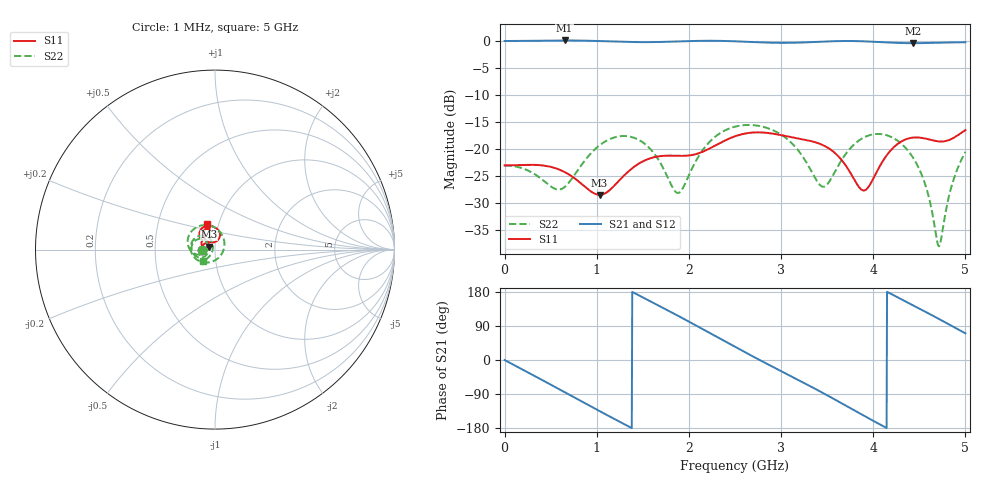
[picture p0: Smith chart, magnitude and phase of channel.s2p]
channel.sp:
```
* EQUIVALENT CIRCUIT FOR VECTOR FITTED S-MATRIX
* Created using scikit-rf vectorFitting.py
*
.SUBCKT pcb_channel p1 p2
*
* Port network for port 1
V1 p1 s1 0
R1 s1 0 100.0
Gd1_1 0 s1 p1 0 0.0038721698024875755
Fd1_1 0 s1 V1 0.3872169802487575
Gr1_re_1_1 0 s1 x1_re_a1 0 230132315.0234357
Gr1_im_1_1 0 s1 x1_im_a1 0 -237841248.3026234
Gr2_re_1_1 0 s1 x2_re_a1 0 506039716.3296399
Gr2_im_1_1 0 s1 x2_im_a1 0 127381597.52694562
Gr3_re_1_1 0 s1 x3_re_a1 0 2963521897.8179903
Gr3_im_1_1 0 s1 x3_im_a1 0 -2540972215.4475846
Gr4_re_1_1 0 s1 x4_re_a1 0 916625370.9072554
Gr4_im_1_1 0 s1 x4_im_a1 0 -3777971299.486269
Gr5_re_1_1 0 s1 x5_re_a1 0 6266095256.290946
Gr5_im_1_1 0 s1 x5_im_a1 0 -70658086175.31921
Gr6_re_1_1 0 s1 x6_re_a1 0 -16406634519.928837
Gr6_im_1_1 0 s1 x6_im_a1 0 25062248863.31233
Gr7_re_1_1 0 s1 x7_re_a1 0 -48466033878.736435
Gr7_im_1_1 0 s1 x7_im_a1 0 86566086603.96417
Gr8_re_1_1 0 s1 x8_re_a1 0 44440228319.5974
Gr8_im_1_1 0 s1 x8_im_a1 0 16258524601.494286
Gr9_re_1_1 0 s1 x9_re_a1 0 -2256883863.934933
Gr9_im_1_1 0 s1 x9_im_a1 0 112285785357.16454
Gr10_re_1_1 0 s1 x10_re_a1 0 50162676840.21702
Gr10_im_1_1 0 s1 x10_im_a1 0 -101109508382.7487
Gr11_re_1_1 0 s1 x11_re_a1 0 -181777456472.0053
Gr11_im_1_1 0 s1 x11_im_a1 0 -19964956572.044235
Gr12_re_1_1 0 s1 x12_re_a1 0 -24529172860.591583
Gr12_im_1_1 0 s1 x12_im_a1 0 -64373818678.297806
Gr13_re_1_1 0 s1 x13_re_a1 0 165281578207.3672
Gr13_im_1_1 0 s1 x13_im_a1 0 -81221251361.10374
Gd1_2 0 s1 p2 0 -4.901293344469542e-06
Fd1_2 0 s1 V2 -0.0004901293344469541
Gr1_re_1_2 0 s1 x1_re_a2 0 -719300212.2562754
Gr1_im_1_2 0 s1 x1_im_a2 0 -215433113.35800067
Gr2_re_1_2 0 s1 x2_re_a2 0 349857152.04530036
Gr2_im_1_2 0 s1 x2_im_a2 0 -64246845.82097744
Gr3_re_1_2 0 s1 x3_re_a2 0 -333531878.7686939
Gr3_im_1_2 0 s1 x3_im_a2 0 -656140697.2171538
Gr4_re_1_2 0 s1 x4_re_a2 0 -2830380203.0923047
Gr4_im_1_2 0 s1 x4_im_a2 0 1229099329.209276
Gr5_re_1_2 0 s1 x5_re_a2 0 -21277749812.267677
Gr5_im_1_2 0 s1 x5_im_a2 0 17797263886.10365
Gr6_re_1_2 0 s1 x6_re_a2 0 9833581889.202887
Gr6_im_1_2 0 s1 x6_im_a2 0 -3832635853.108988
Gr7_re_1_2 0 s1 x7_re_a2 0 35040850841.792854
Gr7_im_1_2 0 s1 x7_im_a2 0 -7623980412.630127
Gr8_re_1_2 0 s1 x8_re_a2 0 -6157751038.261586
Gr8_im_1_2 0 s1 x8_im_a2 0 -15074628785.490385
Gr9_re_1_2 0 s1 x9_re_a2 0 21821077614.875626
Gr9_im_1_2 0 s1 x9_im_a2 0 -28150212288.39032
Gr10_re_1_2 0 s1 x10_re_a2 0 -33370282299.82392
Gr10_im_1_2 0 s1 x10_im_a2 0 19180483960.66824
Gr11_re_1_2 0 s1 x11_re_a2 0 38006252028.58797
Gr11_im_1_2 0 s1 x11_im_a2 0 10209053989.989372
Gr12_re_1_2 0 s1 x12_re_a2 0 1459185708.3721416
Gr12_im_1_2 0 s1 x12_im_a2 0 11211810819.311466
Gr13_re_1_2 0 s1 x13_re_a2 0 -41634817284.85993
Gr13_im_1_2 0 s1 x13_im_a2 0 10220078380.08658
*
* State networks driven by port 1
Cx1_re_a1 x1_re_a1 0 1.0
Gx1_re_a1 0 x1_re_a1 p1 0 0.1
Fx1_re_a1 0 x1_re_a1 V1 10.0
Rp1_re_re_a1 0 x1_re_a1 3.8499528378643733e-10
Gp1_re_im_a1 0 x1_re_a1 x1_im_a1 0 40705711741.362854
Cx1_im_a1 x1_im_a1 0 1.0
Gp1_im_re_a1 0 x1_im_a1 x1_re_a1 0 -40705711741.362854
Rp1_im_im_a1 0 x1_im_a1 3.8499528378643733e-10
Cx2_re_a1 x2_re_a1 0 1.0
Gx2_re_a1 0 x2_re_a1 p1 0 0.1
Fx2_re_a1 0 x2_re_a1 V1 10.0
Rp2_re_re_a1 0 x2_re_a1 2.614012954015843e-10
Gp2_re_im_a1 0 x2_re_a1 x2_im_a1 0 34652800563.19265
Cx2_im_a1 x2_im_a1 0 1.0
Gp2_im_re_a1 0 x2_im_a1 x2_re_a1 0 -34652800563.19265
Rp2_im_im_a1 0 x2_im_a1 2.614012954015843e-10
Cx3_re_a1 x3_re_a1 0 1.0
Gx3_re_a1 0 x3_re_a1 p1 0 0.1
Fx3_re_a1 0 x3_re_a1 V1 10.0
Rp3_re_re_a1 0 x3_re_a1 1.589899570434222e-10
Gp3_re_im_a1 0 x3_re_a1 x3_im_a1 0 31926378384.101826
Cx3_im_a1 x3_im_a1 0 1.0
Gp3_im_re_a1 0 x3_im_a1 x3_re_a1 0 -31926378384.101826
Rp3_im_im_a1 0 x3_im_a1 1.589899570434222e-10
Cx4_re_a1 x4_re_a1 0 1.0
Gx4_re_a1 0 x4_re_a1 p1 0 0.1
Fx4_re_a1 0 x4_re_a1 V1 10.0
Rp4_re_re_a1 0 x4_re_a1 1.9195038488031726e-10
Gp4_re_im_a1 0 x4_re_a1 x4_im_a1 0 28965230347.328167
Cx4_im_a1 x4_im_a1 0 1.0
Gp4_im_re_a1 0 x4_im_a1 x4_re_a1 0 -28965230347.328167
Rp4_im_im_a1 0 x4_im_a1 1.9195038488031726e-10
Cx5_re_a1 x5_re_a1 0 1.0
Gx5_re_a1 0 x5_re_a1 p1 0 0.1
Fx5_re_a1 0 x5_re_a1 V1 10.0
Rp5_re_re_a1 0 x5_re_a1 1.6451467467737325e-10
Gp5_re_im_a1 0 x5_re_a1 x5_im_a1 0 23866462183.637135
Cx5_im_a1 x5_im_a1 0 1.0
Gp5_im_re_a1 0 x5_im_a1 x5_re_a1 0 -23866462183.637135
Rp5_im_im_a1 0 x5_im_a1 1.6451467467737325e-10
Cx6_re_a1 x6_re_a1 0 1.0
Gx6_re_a1 0 x6_re_a1 p1 0 0.1
Fx6_re_a1 0 x6_re_a1 V1 10.0
Rp6_re_re_a1 0 x6_re_a1 1.9315959956854888e-10
Gp6_re_im_a1 0 x6_re_a1 x6_im_a1 0 23539439051.305748
Cx6_im_a1 x6_im_a1 0 1.0
Gp6_im_re_a1 0 x6_im_a1 x6_re_a1 0 -23539439051.305748
Rp6_im_im_a1 0 x6_im_a1 1.9315959956854888e-10
Cx7_re_a1 x7_re_a1 0 1.0
Gx7_re_a1 0 x7_re_a1 p1 0 0.1
Fx7_re_a1 0 x7_re_a1 V1 10.0
Rp7_re_re_a1 0 x7_re_a1 1.277317340968978e-10
Gp7_re_im_a1 0 x7_re_a1 x7_im_a1 0 21216854331.78542
Cx7_im_a1 x7_im_a1 0 1.0
Gp7_im_re_a1 0 x7_im_a1 x7_re_a1 0 -21216854331.78542
Rp7_im_im_a1 0 x7_im_a1 1.277317340968978e-10
Cx8_re_a1 x8_re_a1 0 1.0
Gx8_re_a1 0 x8_re_a1 p1 0 0.1
Fx8_re_a1 0 x8_re_a1 V1 10.0
Rp8_re_re_a1 0 x8_re_a1 1.391151816477009e-10
Gp8_re_im_a1 0 x8_re_a1 x8_im_a1 0 17936207432.51939
Cx8_im_a1 x8_im_a1 0 1.0
Gp8_im_re_a1 0 x8_im_a1 x8_re_a1 0 -17936207432.51939
Rp8_im_im_a1 0 x8_im_a1 1.391151816477009e-10
Cx9_re_a1 x9_re_a1 0 1.0
Gx9_re_a1 0 x9_re_a1 p1 0 0.1
Fx9_re_a1 0 x9_re_a1 V1 10.0
Rp9_re_re_a1 0 x9_re_a1 1.6489630111683153e-10
Gp9_re_im_a1 0 x9_re_a1 x9_im_a1 0 12711640959.559034
Cx9_im_a1 x9_im_a1 0 1.0
Gp9_im_re_a1 0 x9_im_a1 x9_re_a1 0 -12711640959.559034
Rp9_im_im_a1 0 x9_im_a1 1.6489630111683153e-10
Cx10_re_a1 x10_re_a1 0 1.0
Gx10_re_a1 0 x10_re_a1 p1 0 0.1
Fx10_re_a1 0 x10_re_a1 V1 10.0
Rp10_re_re_a1 0 x10_re_a1 1.654817706920306e-10
Gp10_re_im_a1 0 x10_re_a1 x10_im_a1 0 12262808926.629192
Cx10_im_a1 x10_im_a1 0 1.0
Gp10_im_re_a1 0 x10_im_a1 x10_re_a1 0 -12262808926.629192
Rp10_im_im_a1 0 x10_im_a1 1.654817706920306e-10
Cx11_re_a1 x11_re_a1 0 1.0
Gx11_re_a1 0 x11_re_a1 p1 0 0.1
Fx11_re_a1 0 x11_re_a1 V1 10.0
Rp11_re_re_a1 0 x11_re_a1 1.1513524067068282e-10
Gp11_re_im_a1 0 x11_re_a1 x11_im_a1 0 3227263835.657517
Cx11_im_a1 x11_im_a1 0 1.0
Gp11_im_re_a1 0 x11_im_a1 x11_re_a1 0 -3227263835.657517
Rp11_im_im_a1 0 x11_im_a1 1.1513524067068282e-10
Cx12_re_a1 x12_re_a1 0 1.0
Gx12_re_a1 0 x12_re_a1 p1 0 0.1
Fx12_re_a1 0 x12_re_a1 V1 10.0
Rp12_re_re_a1 0 x12_re_a1 1.478532784007403e-10
Gp12_re_im_a1 0 x12_re_a1 x12_im_a1 0 5066467184.284031
Cx12_im_a1 x12_im_a1 0 1.0
Gp12_im_re_a1 0 x12_im_a1 x12_re_a1 0 -5066467184.284031
Rp12_im_im_a1 0 x12_im_a1 1.478532784007403e-10
Cx13_re_a1 x13_re_a1 0 1.0
Gx13_re_a1 0 x13_re_a1 p1 0 0.1
Fx13_re_a1 0 x13_re_a1 V1 10.0
Rp13_re_re_a1 0 x13_re_a1 1.2175454931171048e-10
Gp13_re_im_a1 0 x13_re_a1 x13_im_a1 0 6867771945.313751
Cx13_im_a1 x13_im_a1 0 1.0
Gp13_im_re_a1 0 x13_im_a1 x13_re_a1 0 -6867771945.313751
Rp13_im_im_a1 0 x13_im_a1 1.2175454931171048e-10
*
* Port network for port 2
V2 p2 s2 0
R2 s2 0 100.0
Gd2_1 0 s2 p1 0 -0.0002779614970035804
Fd2_1 0 s2 V1 -0.02779614970035804
Gr1_re_2_1 0 s2 x1_re_a1 0 -617650528.1817954
Gr1_im_2_1 0 s2 x1_im_a1 0 -271883854.42659324
Gr2_re_2_1 0 s2 x2_re_a1 0 433407182.94165194
Gr2_im_2_1 0 s2 x2_im_a1 0 -36064073.65079883
Gr3_re_2_1 0 s2 x3_re_a1 0 1139732938.520521
Gr3_im_2_1 0 s2 x3_im_a1 0 -567928537.0132726
Gr4_re_2_1 0 s2 x4_re_a1 0 -1709374016.7903235
Gr4_im_2_1 0 s2 x4_im_a1 0 155666575.9743618
Gr5_re_2_1 0 s2 x5_re_a1 0 1176649682.7824452
Gr5_im_2_1 0 s2 x5_im_a1 0 1355563670.4141088
Gr6_re_2_1 0 s2 x6_re_a1 0 -2033685669.4867182
Gr6_im_2_1 0 s2 x6_im_a1 0 -3053367271.682707
Gr7_re_2_1 0 s2 x7_re_a1 0 -4894809537.884948
Gr7_im_2_1 0 s2 x7_im_a1 0 4127199240.6989365
Gr8_re_2_1 0 s2 x8_re_a1 0 4073841205.9028406
Gr8_im_2_1 0 s2 x8_im_a1 0 1684325337.2678187
Gr9_re_2_1 0 s2 x9_re_a1 0 4544311817.26081
Gr9_im_2_1 0 s2 x9_im_a1 0 11056445620.017464
Gr10_re_2_1 0 s2 x10_re_a1 0 -2615702147.6008863
Gr10_im_2_1 0 s2 x10_im_a1 0 -9209848117.06294
Gr11_re_2_1 0 s2 x11_re_a1 0 -8467351369.095667
Gr11_im_2_1 0 s2 x11_im_a1 0 -6960556060.816154
Gr12_re_2_1 0 s2 x12_re_a1 0 2217460416.504475
Gr12_im_2_1 0 s2 x12_im_a1 0 -8369948871.584276
Gr13_re_2_1 0 s2 x13_re_a1 0 7497248249.89623
Gr13_im_2_1 0 s2 x13_im_a1 0 7158683311.06897
Gd2_2 0 s2 p2 0 0.0030573984278281386
Fd2_2 0 s2 V2 0.30573984278281385
Gr1_re_2_2 0 s2 x1_re_a2 0 283589604.90225357
Gr1_im_2_2 0 s2 x1_im_a2 0 -90873962.15250024
Gr2_re_2_2 0 s2 x2_re_a2 0 -685540900.9452834
Gr2_im_2_2 0 s2 x2_im_a2 0 1077507349.7435062
Gr3_re_2_2 0 s2 x3_re_a2 0 11883002649.352861
Gr3_im_2_2 0 s2 x3_im_a2 0 -535130311.16655344
Gr4_re_2_2 0 s2 x4_re_a2 0 3326463857.4027987
Gr4_im_2_2 0 s2 x4_im_a2 0 -8591780322.84764
Gr5_re_2_2 0 s2 x5_re_a2 0 46152977230.43086
Gr5_im_2_2 0 s2 x5_im_a2 0 -115027193020.91658
Gr6_re_2_2 0 s2 x6_re_a2 0 -41319006390.85735
Gr6_im_2_2 0 s2 x6_im_a2 0 32757285093.3002
Gr7_re_2_2 0 s2 x7_re_a2 0 -116963479882.41641
Gr7_im_2_2 0 s2 x7_im_a2 0 119234040834.7943
Gr8_re_2_2 0 s2 x8_re_a2 0 64233918203.56583
Gr8_im_2_2 0 s2 x8_im_a2 0 41644285165.29855
Gr9_re_2_2 0 s2 x9_re_a2 0 -31564442879.353943
Gr9_im_2_2 0 s2 x9_im_a2 0 179206955745.65344
Gr10_re_2_2 0 s2 x10_re_a2 0 104114403034.44075
Gr10_im_2_2 0 s2 x10_im_a2 0 -150471650077.37387
Gr11_re_2_2 0 s2 x11_re_a2 0 -281261429904.98584
Gr11_im_2_2 0 s2 x11_im_a2 0 -51180232485.91793
Gr12_re_2_2 0 s2 x12_re_a2 0 -23032715171.73442
Gr12_im_2_2 0 s2 x12_im_a2 0 -106044895697.83044
Gr13_re_2_2 0 s2 x13_re_a2 0 261749465982.60684
Gr13_im_2_2 0 s2 x13_im_a2 0 -91014661625.19125
*
* State networks driven by port 2
Cx1_re_a2 x1_re_a2 0 1.0
Gx1_re_a2 0 x1_re_a2 p2 0 0.1
Fx1_re_a2 0 x1_re_a2 V2 10.0
Rp1_re_re_a2 0 x1_re_a2 3.8499528378643733e-10
Gp1_re_im_a2 0 x1_re_a2 x1_im_a2 0 40705711741.362854
Cx1_im_a2 x1_im_a2 0 1.0
Gp1_im_re_a2 0 x1_im_a2 x1_re_a2 0 -40705711741.362854
Rp1_im_im_a2 0 x1_im_a2 3.8499528378643733e-10
Cx2_re_a2 x2_re_a2 0 1.0
Gx2_re_a2 0 x2_re_a2 p2 0 0.1
Fx2_re_a2 0 x2_re_a2 V2 10.0
Rp2_re_re_a2 0 x2_re_a2 2.614012954015843e-10
Gp2_re_im_a2 0 x2_re_a2 x2_im_a2 0 34652800563.19265
Cx2_im_a2 x2_im_a2 0 1.0
Gp2_im_re_a2 0 x2_im_a2 x2_re_a2 0 -34652800563.19265
Rp2_im_im_a2 0 x2_im_a2 2.614012954015843e-10
Cx3_re_a2 x3_re_a2 0 1.0
Gx3_re_a2 0 x3_re_a2 p2 0 0.1
Fx3_re_a2 0 x3_re_a2 V2 10.0
Rp3_re_re_a2 0 x3_re_a2 1.589899570434222e-10
Gp3_re_im_a2 0 x3_re_a2 x3_im_a2 0 31926378384.101826
Cx3_im_a2 x3_im_a2 0 1.0
Gp3_im_re_a2 0 x3_im_a2 x3_re_a2 0 -31926378384.101826
Rp3_im_im_a2 0 x3_im_a2 1.589899570434222e-10
Cx4_re_a2 x4_re_a2 0 1.0
Gx4_re_a2 0 x4_re_a2 p2 0 0.1
Fx4_re_a2 0 x4_re_a2 V2 10.0
Rp4_re_re_a2 0 x4_re_a2 1.9195038488031726e-10
Gp4_re_im_a2 0 x4_re_a2 x4_im_a2 0 28965230347.328167
Cx4_im_a2 x4_im_a2 0 1.0
Gp4_im_re_a2 0 x4_im_a2 x4_re_a2 0 -28965230347.328167
Rp4_im_im_a2 0 x4_im_a2 1.9195038488031726e-10
Cx5_re_a2 x5_re_a2 0 1.0
Gx5_re_a2 0 x5_re_a2 p2 0 0.1
Fx5_re_a2 0 x5_re_a2 V2 10.0
Rp5_re_re_a2 0 x5_re_a2 1.6451467467737325e-10
Gp5_re_im_a2 0 x5_re_a2 x5_im_a2 0 23866462183.637135
Cx5_im_a2 x5_im_a2 0 1.0
Gp5_im_re_a2 0 x5_im_a2 x5_re_a2 0 -23866462183.637135
Rp5_im_im_a2 0 x5_im_a2 1.6451467467737325e-10
Cx6_re_a2 x6_re_a2 0 1.0
Gx6_re_a2 0 x6_re_a2 p2 0 0.1
Fx6_re_a2 0 x6_re_a2 V2 10.0
Rp6_re_re_a2 0 x6_re_a2 1.9315959956854888e-10
Gp6_re_im_a2 0 x6_re_a2 x6_im_a2 0 23539439051.305748
Cx6_im_a2 x6_im_a2 0 1.0
Gp6_im_re_a2 0 x6_im_a2 x6_re_a2 0 -23539439051.305748
Rp6_im_im_a2 0 x6_im_a2 1.9315959956854888e-10
Cx7_re_a2 x7_re_a2 0 1.0
Gx7_re_a2 0 x7_re_a2 p2 0 0.1
Fx7_re_a2 0 x7_re_a2 V2 10.0
Rp7_re_re_a2 0 x7_re_a2 1.277317340968978e-10
Gp7_re_im_a2 0 x7_re_a2 x7_im_a2 0 21216854331.78542
Cx7_im_a2 x7_im_a2 0 1.0
Gp7_im_re_a2 0 x7_im_a2 x7_re_a2 0 -21216854331.78542
Rp7_im_im_a2 0 x7_im_a2 1.277317340968978e-10
Cx8_re_a2 x8_re_a2 0 1.0
Gx8_re_a2 0 x8_re_a2 p2 0 0.1
Fx8_re_a2 0 x8_re_a2 V2 10.0
Rp8_re_re_a2 0 x8_re_a2 1.391151816477009e-10
Gp8_re_im_a2 0 x8_re_a2 x8_im_a2 0 17936207432.51939
Cx8_im_a2 x8_im_a2 0 1.0
Gp8_im_re_a2 0 x8_im_a2 x8_re_a2 0 -17936207432.51939
Rp8_im_im_a2 0 x8_im_a2 1.391151816477009e-10
Cx9_re_a2 x9_re_a2 0 1.0
Gx9_re_a2 0 x9_re_a2 p2 0 0.1
Fx9_re_a2 0 x9_re_a2 V2 10.0
Rp9_re_re_a2 0 x9_re_a2 1.6489630111683153e-10
Gp9_re_im_a2 0 x9_re_a2 x9_im_a2 0 12711640959.559034
Cx9_im_a2 x9_im_a2 0 1.0
Gp9_im_re_a2 0 x9_im_a2 x9_re_a2 0 -12711640959.559034
Rp9_im_im_a2 0 x9_im_a2 1.6489630111683153e-10
Cx10_re_a2 x10_re_a2 0 1.0
Gx10_re_a2 0 x10_re_a2 p2 0 0.1
Fx10_re_a2 0 x10_re_a2 V2 10.0
Rp10_re_re_a2 0 x10_re_a2 1.654817706920306e-10
Gp10_re_im_a2 0 x10_re_a2 x10_im_a2 0 12262808926.629192
Cx10_im_a2 x10_im_a2 0 1.0
Gp10_im_re_a2 0 x10_im_a2 x10_re_a2 0 -12262808926.629192
Rp10_im_im_a2 0 x10_im_a2 1.654817706920306e-10
Cx11_re_a2 x11_re_a2 0 1.0
Gx11_re_a2 0 x11_re_a2 p2 0 0.1
Fx11_re_a2 0 x11_re_a2 V2 10.0
Rp11_re_re_a2 0 x11_re_a2 1.1513524067068282e-10
Gp11_re_im_a2 0 x11_re_a2 x11_im_a2 0 3227263835.657517
Cx11_im_a2 x11_im_a2 0 1.0
Gp11_im_re_a2 0 x11_im_a2 x11_re_a2 0 -3227263835.657517
Rp11_im_im_a2 0 x11_im_a2 1.1513524067068282e-10
Cx12_re_a2 x12_re_a2 0 1.0
Gx12_re_a2 0 x12_re_a2 p2 0 0.1
Fx12_re_a2 0 x12_re_a2 V2 10.0
Rp12_re_re_a2 0 x12_re_a2 1.478532784007403e-10
Gp12_re_im_a2 0 x12_re_a2 x12_im_a2 0 5066467184.284031
Cx12_im_a2 x12_im_a2 0 1.0
Gp12_im_re_a2 0 x12_im_a2 x12_re_a2 0 -5066467184.284031
Rp12_im_im_a2 0 x12_im_a2 1.478532784007403e-10
Cx13_re_a2 x13_re_a2 0 1.0
Gx13_re_a2 0 x13_re_a2 p2 0 0.1
Fx13_re_a2 0 x13_re_a2 V2 10.0
Rp13_re_re_a2 0 x13_re_a2 1.2175454931171048e-10
Gp13_re_im_a2 0 x13_re_a2 x13_im_a2 0 6867771945.313751
Cx13_im_a2 x13_im_a2 0 1.0
Gp13_im_re_a2 0 x13_im_a2 x13_re_a2 0 -6867771945.313751
Rp13_im_im_a2 0 x13_im_a2 1.2175454931171048e-10
.ENDS pcb_channel
```
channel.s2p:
! Created with skrf 1.8.0 (http://scikit-rf.org).
# Hz S RI R 100.0
!freq ReS11 ImS11 ReS21 ImS21 ReS12 ImS12 ReS22 ImS22
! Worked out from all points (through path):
!   1001 points, 1 MHz to 5 GHz, reference 100 ohm
!   highest |S21| = 0.06 dB at 650.9 MHz (marker M1); lowest = -0.4 dB at 4.43 GHz (marker M2)
!   group delay of S21, straight-line fit = 361 ps
!   lowest |S11| = -28.6 dB at 1.031 GHz (marker M3), VSWR 1.08, Z = 93.5 + j3.14 ohm
!   |S11| at or under -10 dB: start of sweep to end of sweep
!   |S22| runs from -38.1 to -15.6 dB; largest |S21 - S12| = 0.016
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1000000  -0.07 5.38e-05  0.9955 -0.00223  0.9955 -0.00223  -0.0699 4.94e-05
6.5087e8  -0.0487 0.0364  0.0931 -1.003  0.0892 -1.003  -0.0413 -0.0152
1.030794e9  -0.0334 0.0168  -0.7004 -0.7058  -0.7 -0.6992  -0.0995 -0.0403
1.925615e9  -0.0684 0.0518  -0.356 0.9226  -0.3528 0.926  -0.0417 -0.00251
2.5005e9  -0.085 0.0987  0.8138 0.5623  0.812 0.5562  -0.1523 0.0488
2.960408e9  -0.0253 0.1332  0.8726 -0.3932  0.8716 -0.393  -0.0392 0.1359
3.490302e9  0.0238 0.1012  -0.0301 -0.9847  -0.0405 -0.9848  0.0302 -0.0342
3.975205e9  -0.0265 0.0401  -0.9052 -0.381  -0.8994 -0.3743  -0.1342 -0.00668
4.430114e9  -0.0506 0.1161  -0.7735 0.5513  -0.7718 0.5548  -0.0434 0.0707
4.715057e9  -0.0313 0.1124  -0.2978 0.9129  -0.2899 0.917  -0.0124 0.00147
5e9  -0.0472 0.141  0.3261 0.9118  0.3403 0.9049  -0.0681 -0.0635
